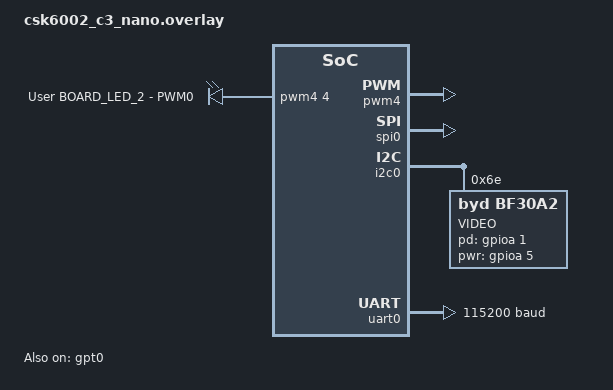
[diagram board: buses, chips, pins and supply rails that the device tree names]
/{
    pwmleds {
		compatible = "pwm-leds";
		green_pwm_led: green_pwm_led {
			pwms = <&pwm4 4 PWM_POLARITY_NORMAL>;
			label = "User BOARD_LED_2 - PWM0";
		};
	};
};

&gpt0 {
	status = "okay";

    pwm5: pwm5 {
        status = "disabled";
    };

	pwm4: pwm4 {
        pinmuxs = <&pinmuxa 4 11>;
        clock-prescaler = <1>;
        status = "okay";
    };
};

&spi0 {
    status = "okay";
    spi-max-frequency = <25000000>;
};

&spi1 {
    status = "disabled";
};

&i2c0 {
        status = "okay";
        pinmuxs = <&pinmuxb 0 8>, <&pinmuxb 1 8>;
        pinmux-names = "SCL", "SDA";

        bf30a2: bf30a2@6e {
            compatible = "byd,bf30a2";
            status = "okay";
            label = "VIDEO";
            reg = <0x6e>;
            pd-gpios = <&gpioa 1 0>;
            pwr-gpios = <&gpioa 5 0>;
            product-id = <0x3b02>;
            spi = <&spi0>;
            xclk-pwm = <&pwm4>;
            xclk-freq = <12500>;
            csk6-spec;
    };
};

&i2c1 {
    status = "disabled";
};

&uart0 {
    current-speed = <115200>;
};

&uart1 {
    status = "disabled";
    current-speed = <115200>;
	pinmuxs = < &pinmuxa 8 3>, < &pinmuxa 9 3>;
};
